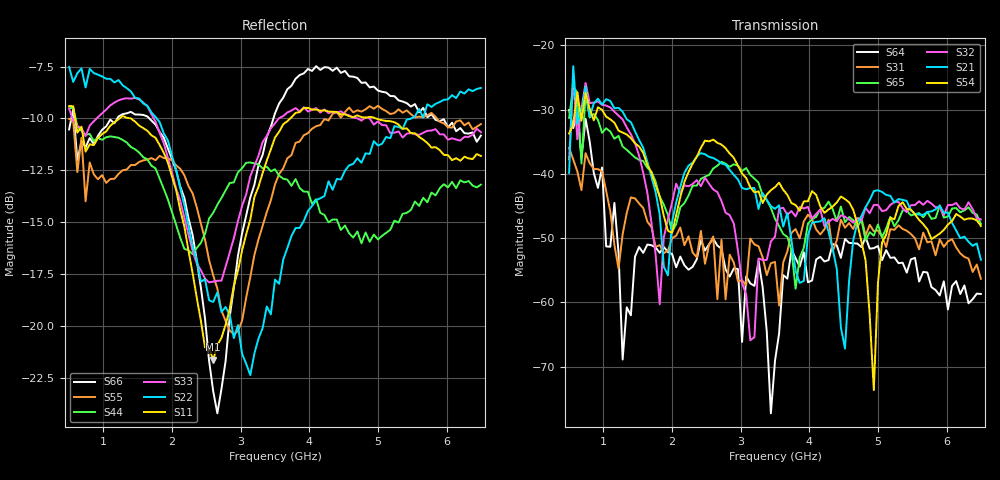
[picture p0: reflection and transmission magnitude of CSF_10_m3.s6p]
!Keysight Technologies,M9804A,MY58100912,A.14.10.03
!Date: Thursday, April 27, 2023 10:28:33
!Correction: S11(C  6-Port  )
!S12(C  6-Port  )
!S13(C  6-Port  )
!S14(C  6-Port  )
!S15(C  6-Port  )
!S16(C  6-Port  )
!S21(C  6-Port  )
!S22(C  6-Port  )
!S23(C  6-Port  )
!S24(C  6-Port  )
!S25(C  6-Port  )
!S26(C  6-Port  )
!S31(C  6-Port  )
!S32(C  6-Port  )
!S33(C  6-Port  )
!S34(C  6-Port  )
!S35(C  6-Port  )
!S36(C  6-Port  )
!S41(C  6-Port  )
!S42(C  6-Port  )
!S43(C  6-Port  )
!S44(C  6-Port  )
!S45(C  6-Port  )
!S46(C  6-Port  )
!S51(C  6-Port  )
!S52(C  6-Port  )
!S53(C  6-Port  )
!S54(C  6-Port  )
!S55(C  6-Port  )
!S56(C  6-Port  )
!S61(C  6-Port  )
!S62(C  6-Port  )
!S63(C  6-Port  )
!S64(C  6-Port  )
!S65(C  6-Port  )
!S66(C  6-Port  )
!S6P File: Measurement: :
# Hz S  RI  R 50
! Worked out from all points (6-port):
!   101 points, 500 MHz to 6.5 GHz, reference 50 ohm
!   strongest paths, dB at 500 MHz, 2 GHz, 3.5 GHz, 5 GHz, 6.5 GHz:
!     S54: -33.7, -49.2, -42.1, -57.0, -48.1
!     S21: -39.8, -47.5, -45.4, -42.5, -53.4
!     S32: -37.7, -44.5, -49.8, -44.8, -47.1
!     S65: -31.3, -49.0, -47.0, -47.9, -47.8
!     S31: -36.0, -50.0, -53.7, -48.8, -56.3
!     S64: -30.1, -52.5, -69.1, -51.2, -58.7
!   lowest |S11| = -21.6 dB at 2.6 GHz (marker M1), VSWR 1.18, Z = 42.6 + j2.07 ohm
!   |S11| at or under -10 dB: 587.9 MHz to 1.234 GHz (646.1 MHz wide, 70.9 % of centre); 1.401 GHz to 3.721 GHz (2.32 GHz wide, 90.6 % of centre); 4.972 GHz to end of sweep
